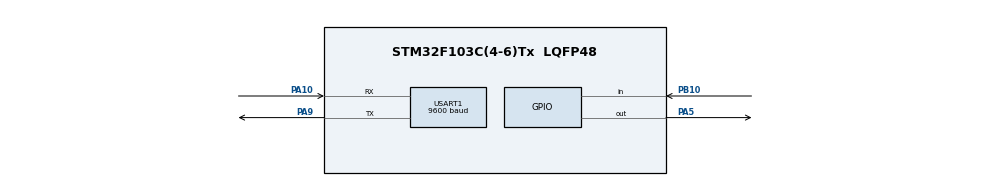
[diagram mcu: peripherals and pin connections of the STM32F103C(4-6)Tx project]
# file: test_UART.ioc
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Mcu.Family=STM32F1
Mcu.Name=STM32F103C(4-6)Tx
Mcu.Package=LQFP48
NVIC.PriorityGroup=NVIC_PRIORITYGROUP_4
PA10.Mode=Asynchronous
PA10.Signal=USART1_RX
PA5.Signal=GPIO_Output
PA9.Mode=Asynchronous
PA9.Signal=USART1_TX
PB10.Signal=GPIO_Input
PD0-OSC_IN.Mode=HSE-External-Oscillator
PD0-OSC_IN.Signal=RCC_OSC_IN
PD1-OSC_OUT.Mode=HSE-External-Oscillator
PD1-OSC_OUT.Signal=RCC_OSC_OUT
ProjectManager.HeapSize=0x200
ProjectManager.StackSize=0x400
ProjectManager.TargetToolchain=STM32CubeIDE
RCC.APB1Freq_Value=8000000
RCC.APB2Freq_Value=8000000
USART1.BaudRate=9600
USART1.VirtualMode=VM_ASYNC
VP_SYS_VS_ND.Mode=No_Debug
board=custom

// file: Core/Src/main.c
/* USER CODE BEGIN Header */
/**
  ******************************************************************************
  * @file           : main.c
  * @brief          : Main program body
  ******************************************************************************
  * @attention
  *
  * Copyright (c) 2025 STMicroelectronics.
  * All rights reserved.
  *
  * This software is licensed under terms that can be found in the LICENSE file
  * in the root directory of this software component.
  * If no LICENSE file comes with this software, it is provided AS-IS.
  *
  ******************************************************************************
  */
/* USER CODE END Header */
#include "main.h"
#include <string.h>

UART_HandleTypeDef huart1;

void SystemClock_Config(void);
static void MX_GPIO_Init(void);
static void MX_USART1_UART_Init(void);
/* USER CODE BEGIN PFP */
// Example function to send data over UART
void UART_SendData(char *data)
{
    HAL_UART_Transmit(&huart1, (uint8_t*)data, strlen(data), 1000);
}

// Example function to receive data over UART
void UART_ReceiveData(char *buffer, uint16_t size)
{
    HAL_UART_Receive(&huart1, (uint8_t*)buffer, size, 1000);
}

/* USER CODE END PFP */

int main(void)
{

  /* MCU Configuration--------------------------------------------------------*/

  /* Reset of all peripherals, Initializes the Flash interface and the Systick. */
  HAL_Init();

  /* Configure the system clock */
  SystemClock_Config();

  /* Initialize all configured peripherals */
  MX_GPIO_Init();
  MX_USART1_UART_Init();
  /* USER CODE BEGIN 2 */
  char msg1[] = "Hello, User!\r\n\0";
  char msg2[] = "Please, press button.\r\n\0";
  char msg0[] = "                     \r\0";
  //UART_SendData(msg1);
  /* USER CODE END 2 */

  /* Infinite loop */
  while (1)
  {

    /* USER CODE BEGIN 3 */
	  // Simple loop to receive data
	  UART_SendData(msg1);
	  //UART_SendData(msg2);
	  HAL_Delay(1000);
	  if (HAL_GPIO_ReadPin(GPIOB, GPIO_PIN_10) == 1)
	  {
		  HAL_GPIO_WritePin(GPIOA, GPIO_PIN_5, GPIO_PIN_SET);
		 UART_SendData(msg0);
	  }
	  else {
		  HAL_GPIO_WritePin(GPIOA, GPIO_PIN_5, GPIO_PIN_RESET);
		  UART_SendData(msg2);
	  }

	  }

  }
  /* USER CODE END 3 */

void SystemClock_Config(void)
{
  RCC_OscInitTypeDef RCC_OscInitStruct = {0};
  RCC_ClkInitTypeDef RCC_ClkInitStruct = {0};

  /** Initializes the RCC Oscillators according to the specified parameters
  * in the RCC_OscInitTypeDef structure.
  */
  RCC_OscInitStruct.OscillatorType = RCC_OSCILLATORTYPE_HSI;
  RCC_OscInitStruct.HSIState = RCC_HSI_ON;
  RCC_OscInitStruct.HSICalibrationValue = RCC_HSICALIBRATION_DEFAULT;
  RCC_OscInitStruct.PLL.PLLState = RCC_PLL_NONE;
  if (HAL_RCC_OscConfig(&RCC_OscInitStruct) != HAL_OK)
  {
    Error_Handler();
  }

  /** Initializes the CPU, AHB and APB buses clocks
  */
  RCC_ClkInitStruct.ClockType = RCC_CLOCKTYPE_HCLK|RCC_CLOCKTYPE_SYSCLK
                              |RCC_CLOCKTYPE_PCLK1|RCC_CLOCKTYPE_PCLK2;
  RCC_ClkInitStruct.SYSCLKSource = RCC_SYSCLKSOURCE_HSI;
  RCC_ClkInitStruct.AHBCLKDivider = RCC_SYSCLK_DIV1;
  RCC_ClkInitStruct.APB1CLKDivider = RCC_HCLK_DIV1;
  RCC_ClkInitStruct.APB2CLKDivider = RCC_HCLK_DIV1;

  if (HAL_RCC_ClockConfig(&RCC_ClkInitStruct, FLASH_LATENCY_0) != HAL_OK)
  {
    Error_Handler();
  }
}

static void MX_USART1_UART_Init(void)
{

  huart1.Instance = USART1;
  huart1.Init.BaudRate = 9600;
  huart1.Init.WordLength = UART_WORDLENGTH_8B;
  huart1.Init.StopBits = UART_STOPBITS_1;
  huart1.Init.Parity = UART_PARITY_NONE;
  huart1.Init.Mode = UART_MODE_TX_RX;
  huart1.Init.HwFlowCtl = UART_HWCONTROL_NONE;
  huart1.Init.OverSampling = UART_OVERSAMPLING_16;
  if (HAL_UART_Init(&huart1) != HAL_OK)
  {
    Error_Handler();
  }

}

static void MX_GPIO_Init(void)
{
  GPIO_InitTypeDef GPIO_InitStruct = {0};

  /* GPIO Ports Clock Enable */
  __HAL_RCC_GPIOD_CLK_ENABLE();
  __HAL_RCC_GPIOA_CLK_ENABLE();
  __HAL_RCC_GPIOB_CLK_ENABLE();

  /*Configure GPIO pin Output Level */
  HAL_GPIO_WritePin(GPIOA, GPIO_PIN_5, GPIO_PIN_RESET);

  /*Configure GPIO pin : PA5 */
  GPIO_InitStruct.Pin = GPIO_PIN_5;
  GPIO_InitStruct.Mode = GPIO_MODE_OUTPUT_PP;
  GPIO_InitStruct.Pull = GPIO_NOPULL;
  GPIO_InitStruct.Speed = GPIO_SPEED_FREQ_LOW;
  HAL_GPIO_Init(GPIOA, &GPIO_InitStruct);

  /*Configure GPIO pin : PB10 */
  GPIO_InitStruct.Pin = GPIO_PIN_10;
  GPIO_InitStruct.Mode = GPIO_MODE_INPUT;
  GPIO_InitStruct.Pull = GPIO_NOPULL;
  HAL_GPIO_Init(GPIOB, &GPIO_InitStruct);

}

void Error_Handler(void)
{
  __disable_irq();
  while (1)
  {
  }
}
